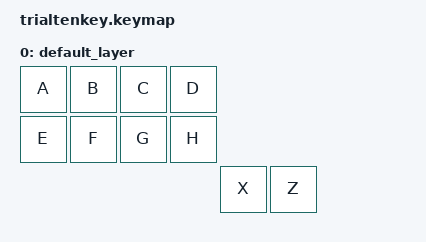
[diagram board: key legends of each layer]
/*
 * Copyright (c) 2020 The ZMK Contributors
 *
 * SPDX-License-Identifier: MIT
 */
#include <behaviors.dtsi>
#include <dt-bindings/zmk/bt.h>
#include <dt-bindings/zmk/keys.h>
#include <dt-bindings/zmk/outputs.h>


/ {
  keymap {
    compatible = "zmk,keymap";

    default_layer {
      bindings = <
        &kp A            &kp B            &kp C            &kp D
        &kp E            &kp F            &kp G            &kp H
                                                                              &kp X            &kp Z
      >;
    };
  };
};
